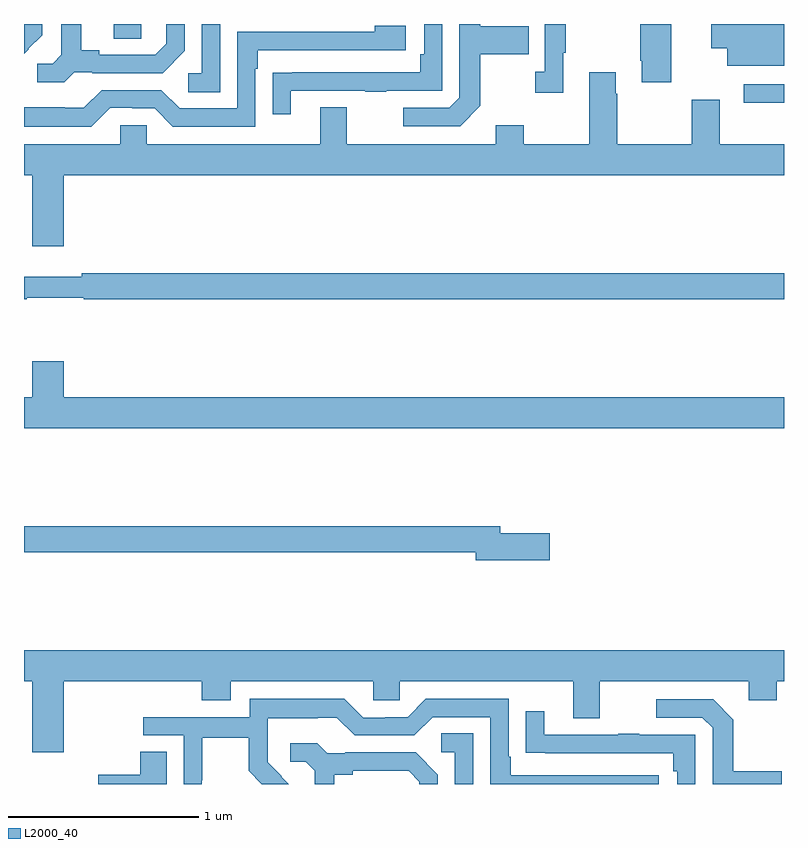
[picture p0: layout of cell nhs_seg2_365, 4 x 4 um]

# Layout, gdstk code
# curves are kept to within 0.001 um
import gdstk
lib = gdstk.Library(unit=1e-6, precision=1e-09)
def R(c, l, rs):  # rectangles x0, y0, x1, y1
    for r in rs: c.add(gdstk.rectangle(r[:2], r[2:], *l))
def P(c, l, *ps):  # polygons
    for p in ps: c.add(gdstk.Polygon(p, *l))
L2000_40 = (2000, 40)

nhs_seg2_365 = lib.new_cell('nhs_seg2_365')
R(nhs_seg2_365, L2000_40, [(132.789,613.386,133,613.482), (129.473,613.723,129.618,613.8)])
P(nhs_seg2_365, L2000_40, [(130.032,613.8),(129.936,613.8),(129.936,613.542),(129.864,613.542),(129.864,613.441),(130.032,613.441)],
  [(131.839,613.649),(131.851,613.649),(131.851,613.8),(131.742,613.8),(131.742,613.55),(131.691,613.55),(131.691,613.437),(131.839,613.437)],
  [(129.024,613.668),(129.023,613.669),(129.096,613.742),(129.096,613.8),(129.002,613.8),(129.002,613.784),(129,613.782),(129,613.644)],
  [(133,613.8),(132.617,613.8),(132.617,613.673),(132.701,613.673),(132.701,613.58),(133,613.58)],
  [(129.264,613.545),(129.358,613.545),(129.358,613.542),(129.73,613.542),(129.846,613.658),(129.846,613.8),(129.749,613.8),(129.749,613.695),(129.692,613.638),(129.397,613.638),(129.397,613.661),(129.301,613.661),(129.301,613.8),(129.197,613.8),(129.197,613.637),(129.15,613.59),(129.069,613.59),(129.069,613.493),(129.212,613.493)],
  [(131.401,613.369),(131.401,613.642),(131.657,613.642),(131.657,613.789),(131.401,613.789),(131.401,613.8),(131.292,613.8),(131.292,613.413),(131.238,613.359),(130.995,613.359),(130.995,613.263),(131.295,613.263)],
  [(130.405,613.449),(130.795,613.449),(130.795,613.444),(130.907,613.444),(130.907,613.449),(131.202,613.449),(131.202,613.8),(131.106,613.8),(131.106,613.642),(131.086,613.642),(131.086,613.545),(130.411,613.545),(130.411,613.544),(130.309,613.544),(130.309,613.326),(130.405,613.326)],
  [(132.406,613.8),(132.244,613.8),(132.244,613.606),(132.251,613.606),(132.251,613.494),(132.406,613.494)],
  [(129.453,613.359),(129.569,613.359),(129.569,613.356),(129.687,613.356),(129.783,613.26),(130.218,613.26),(130.218,613.565),(130.231,613.565),(130.231,613.662),(131.008,613.662),(131.008,613.792),(130.847,613.792),(130.847,613.758),(130.122,613.758),(130.122,613.356),(129.819,613.356),(129.723,613.452),(129.408,613.452),(129.315,613.359),(129.215,613.359),(129.215,613.363),(129,613.363),(129,613.259),(129.353,613.259)],
  [(129.208,613.004),(133,613.004),(133,613.168),(132.661,613.168),(132.661,613.402),(132.514,613.402),(132.514,613.168),(132.123,613.168),(132.123,613.433),(132.115,613.433),(132.115,613.546),(131.975,613.546),(131.975,613.168),(131.631,613.168),(131.631,613.267),(131.483,613.267),(131.483,613.168),(130.699,613.168),(130.699,613.363),(130.559,613.363),(130.559,613.168),(129.645,613.168),(129.645,613.266),(129.507,613.266),(129.507,613.168),(129,613.168),(129,613.004),(129.044,613.004),(129.044,612.63),(129.208,612.63)],
  [(129.014,612.36),(129.314,612.36),(129.314,612.352),(133,612.352),(133,612.488),(129.304,612.488),(129.304,612.469),(129,612.469),(129,612.352),(129.014,612.352)],
  [(133,611.836),(129.208,611.836),(129.208,612.025),(129.044,612.025),(129.044,611.836),(129,611.836),(129,611.672),(133,611.672)],
  [(131.767,611.12),(131.506,611.12),(131.506,611.156),(129,611.156),(129,611.02),(131.378,611.02),(131.378,610.978),(131.767,610.978)],
  [(129.208,610.34),(129.935,610.34),(129.935,610.241),(130.087,610.241),(130.087,610.34),(130.839,610.34),(130.839,610.242),(130.977,610.242),(130.977,610.34),(131.891,610.34),(131.891,610.146),(132.031,610.146),(132.031,610.34),(132.815,610.34),(132.815,610.241),(132.963,610.241),(132.963,610.34),(133,610.34),(133,610.504),(129,610.504),(129,610.34),(129.044,610.34),(129.044,609.966),(129.208,609.966)],
  [(129.936,609.82),(129.939,609.82),(129.939,610.044),(130.183,610.044),(130.183,609.869),(130.252,609.8),(130.394,609.8),(130.282,609.914),(130.282,610.011),(130.284,610.011),(130.284,610.145),(130.547,610.145),(130.547,610.149),(130.647,610.149),(130.74,610.056),(131.055,610.056),(131.151,610.152),(131.454,610.152),(131.454,609.8),(132.34,609.8),(132.34,609.846),(131.563,609.846),(131.563,609.943),(131.55,609.943),(131.55,610.248),(131.115,610.248),(131.019,610.152),(130.901,610.152),(130.901,610.149),(130.785,610.149),(130.685,610.249),(130.188,610.249),(130.188,610.152),(129.627,610.152),(129.627,610.056),(129.84,610.056),(129.84,609.8),(129.936,609.8)],
  [(132.989,609.867),(132.733,609.867),(132.733,610.139),(132.627,610.245),(132.327,610.245),(132.327,610.149),(132.57,610.149),(132.624,610.095),(132.624,609.8),(132.989,609.8)],
  [(132.534,610.059),(132.239,610.059),(132.239,610.064),(132.127,610.064),(132.127,610.059),(131.737,610.059),(131.737,610.183),(131.641,610.183),(131.641,609.964),(131.743,609.964),(131.743,609.963),(132.418,609.963),(132.418,609.866),(132.438,609.866),(132.438,609.8),(132.534,609.8)],
  [(131.364,610.067),(131.196,610.067),(131.196,609.966),(131.268,609.966),(131.268,609.8),(131.364,609.8)],
  [(130.633,609.848),(130.729,609.848),(130.729,609.87),(131.024,609.87),(131.081,609.813),(131.081,609.8),(131.178,609.8),(131.178,609.85),(131.062,609.966),(130.69,609.966),(130.69,609.963),(130.596,609.963),(130.544,610.015),(130.401,610.015),(130.401,609.918),(130.482,609.918),(130.529,609.871),(130.529,609.8),(130.633,609.8)],
  [(129.751,609.971),(129.613,609.971),(129.613,609.848),(129.39,609.848),(129.39,609.8),(129.751,609.8)])

lib.write_gds('nhs_seg2_365.gds')
